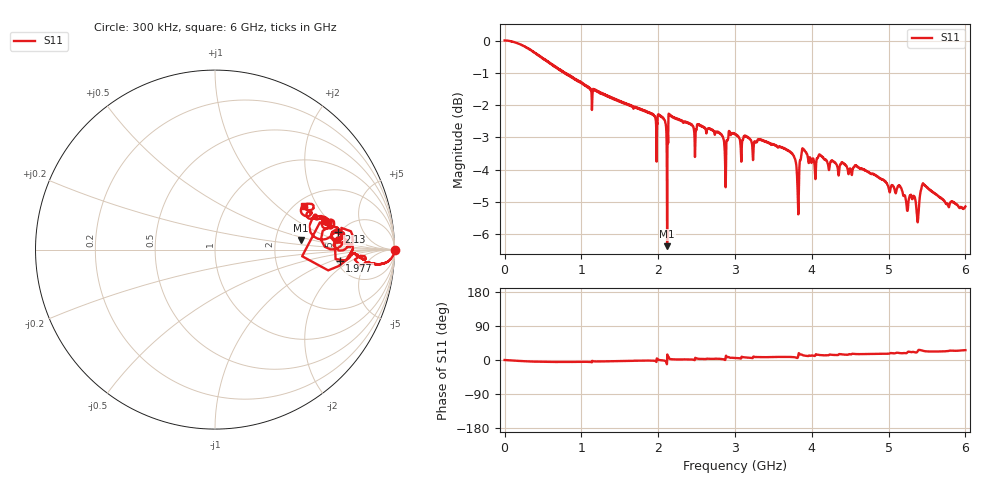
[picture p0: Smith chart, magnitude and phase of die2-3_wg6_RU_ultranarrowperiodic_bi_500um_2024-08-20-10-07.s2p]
!Keysight Technologies,P9374A,MY57304198,A.17.20.09
!Date: Tuesday, August 20, 2024 10:07:16
!Correction: S11(C  1-Port  )
!S21(C  1-Port  )
!S12(Off)
!S22(Off)
!S2P File: Measurements: S11, S21, S12, S22:
# Hz S  dB  R 50
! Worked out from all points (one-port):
!   6000 points, 300 kHz to 6 GHz, reference 50 ohm
!   lowest |S11| = -6.4 dB at 2.117 GHz (marker M1), VSWR 2.85, Z = 140 + j18.5 ohm
!   |S11| at or under -10 dB: nowhere
!   S11 on the Smith chart (normalised r, x): 300 kHz: open; 1.977 GHz: 5.29, -1.31; 2.13 GHz: 4.83, +1.81; 6 GHz: 2.23, +1.56
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300000  0.00 -0.0  -200.00 45.0  -200.00 45.0  -200.00 45.0
4.213491e8  -0.42 -4.4  -200.00 45.0  -200.00 45.0  -200.00 45.0
1.000417e9  -1.30 -4.9  -200.00 45.0  -200.00 45.0  -200.00 45.0
1.976531e9  -3.12 -5.2  -200.00 45.0  -200.00 45.0  -200.00 45.0
2.000533e9  -2.29 0.7  -200.00 45.0  -200.00 45.0  -200.00 45.0
2.085543e9  -2.47 -1.9  -200.00 45.0  -200.00 45.0  -200.00 45.0
2.116547e9  -6.37 6.1  -200.00 45.0  -200.00 45.0  -200.00 45.0
2.129548e9  -3.18 8.1  -200.00 45.0  -200.00 45.0  -200.00 45.0
2.164553e9  -2.33 2.4  -200.00 45.0  -200.00 45.0  -200.00 45.0
2.845632e9  -3.02 2.2  -200.00 45.0  -200.00 45.0  -200.00 45.0
2.881636e9  -4.11 10.9  -200.00 45.0  -200.00 45.0  -200.00 45.0
3.00065e9  -2.88 5.4  -200.00 45.0  -200.00 45.0  -200.00 45.0
3.723734e9  -3.47 8.0  -200.00 45.0  -200.00 45.0  -200.00 45.0
3.792742e9  -3.77 6.5  -200.00 45.0  -200.00 45.0  -200.00 45.0
3.826746e9  -5.24 15.3  -200.00 45.0  -200.00 45.0  -200.00 45.0
3.85575e9  -3.68 14.5  -200.00 45.0  -200.00 45.0  -200.00 45.0
3.895754e9  -3.37 11.9  -200.00 45.0  -200.00 45.0  -200.00 45.0
4.000767e9  -3.72 12.2  -200.00 45.0  -200.00 45.0  -200.00 45.0
5.000883e9  -4.58 16.5  -200.00 45.0  -200.00 45.0  -200.00 45.0
5.351924e9  -4.97 19.9  -200.00 45.0  -200.00 45.0  -200.00 45.0
5.419932e9  -4.64 25.8  -200.00 45.0  -200.00 45.0  -200.00 45.0
6e9  -5.13 26.0  -200.00 45.0  -200.00 45.0  -200.00 45.0
